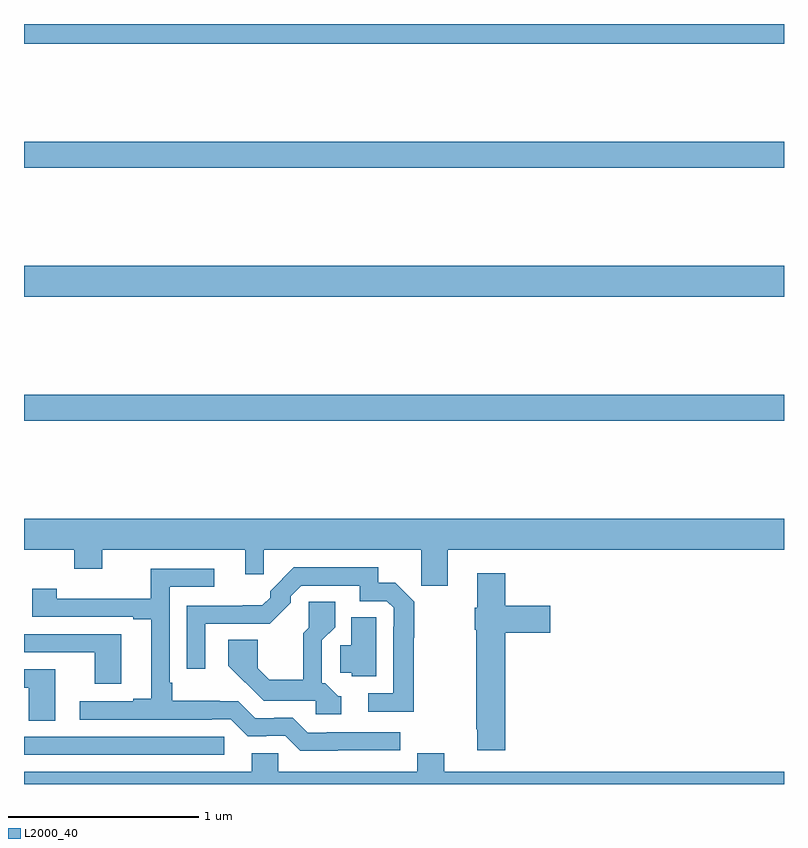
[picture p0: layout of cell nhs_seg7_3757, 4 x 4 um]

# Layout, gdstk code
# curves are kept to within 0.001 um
import gdstk
lib = gdstk.Library(unit=1e-6, precision=1e-09)
def R(c, l, rs):  # rectangles x0, y0, x1, y1
    for r in rs: c.add(gdstk.rectangle(r[:2], r[2:], *l))
def P(c, l, *ps):  # polygons
    for p in ps: c.add(gdstk.Polygon(p, *l))
L2000_40 = (2000, 40)

nhs_seg7_3757 = lib.new_cell('nhs_seg7_3757')
R(nhs_seg7_3757, L2000_40, [(349,1050.153,350.053,1050.249), (349,1051.912,353,1052.048), (349,1052.564,353,1052.728), (349,1053.244,353,1053.38), (349,1053.896,353,1054)])
P(nhs_seg7_3757, L2000_40, [(351.229,1051.232),(353,1051.232),(353,1051.396),(349,1051.396),(349,1051.232),(349.264,1051.232),(349.264,1051.133),(349.411,1051.133),(349.411,1051.232),(350.165,1051.232),(350.165,1051.103),(350.261,1051.103),(350.261,1051.232),(351.091,1051.232),(351.091,1051.044),(351.229,1051.044)],
  [(351.052,1050.769),(351.054,1050.769),(351.054,1050.96),(350.954,1051.06),(350.865,1051.06),(350.865,1051.14),(350.42,1051.14),(350.295,1051.015),(350.295,1050.981),(350.254,1050.94),(349.857,1050.939),(349.857,1050.606),(349.953,1050.606),(349.953,1050.843),(350.293,1050.843),(350.403,1050.953),(350.403,1050.987),(350.46,1051.044),(350.766,1051.044),(350.766,1050.963),(350.91,1050.963),(350.946,1050.927),(350.946,1050.827),(350.943,1050.827),(350.943,1050.477),(350.811,1050.477),(350.811,1050.381),(351.052,1050.381)],
  [(350.651,1050.177),(350.98,1050.177),(350.98,1050.273),(350.593,1050.273),(350.593,1050.27),(350.493,1050.27),(350.415,1050.348),(350.318,1050.348),(350.318,1050.345),(350.217,1050.345),(350.127,1050.435),(350.03,1050.435),(350.03,1050.439),(349.78,1050.439),(349.78,1050.532),(349.767,1050.532),(349.767,1051.038),(350.002,1051.038),(350.002,1051.134),(349.666,1051.134),(349.666,1050.976),(349.172,1050.976),(349.172,1051.027),(349.044,1051.027),(349.044,1050.879),(349.574,1050.879),(349.574,1050.867),(349.67,1050.867),(349.67,1050.448),(349.574,1050.448),(349.574,1050.435),(349.293,1050.435),(349.293,1050.339),(349.988,1050.339),(349.988,1050.342),(350.088,1050.342),(350.178,1050.252),(350.276,1050.252),(350.276,1050.255),(350.376,1050.255),(350.455,1050.176)],
  [(351.533,1050.797),(351.769,1050.797),(351.769,1050.939),(351.533,1050.939),(351.533,1051.108),(351.386,1051.108),(351.386,1050.927),(351.373,1050.927),(351.373,1050.813),(351.379,1050.813),(351.379,1050.289),(351.386,1050.289),(351.386,1050.177),(351.533,1050.177)],
  [(350.671,1050.462),(350.655,1050.462),(350.586,1050.531),(350.568,1050.531),(350.568,1050.756),(350.638,1050.826),(350.638,1050.958),(350.499,1050.958),(350.499,1050.823),(350.47,1050.794),(350.47,1050.549),(350.291,1050.549),(350.23,1050.61),(350.23,1050.758),(350.076,1050.758),(350.076,1050.622),(350.261,1050.438),(350.535,1050.438),(350.535,1050.366),(350.671,1050.366)],
  [(350.853,1050.878),(350.723,1050.878),(350.723,1050.731),(350.664,1050.731),(350.664,1050.585),(350.724,1050.585),(350.724,1050.566),(350.853,1050.566)],
  [(349.513,1050.789),(349,1050.789),(349,1050.693),(349.373,1050.693),(349.373,1050.528),(349.513,1050.528)],
  [(349.165,1050.603),(349,1050.603),(349,1050.507),(349.025,1050.507),(349.025,1050.334),(349.165,1050.334)],
  [(353,1050.064),(351.211,1050.064),(351.211,1050.163),(351.071,1050.163),(351.071,1050.064),(350.337,1050.064),(350.337,1050.162),(350.198,1050.162),(350.198,1050.064),(349,1050.064),(349,1050),(353,1050)])

lib.write_gds('nhs_seg7_3757.gds')
